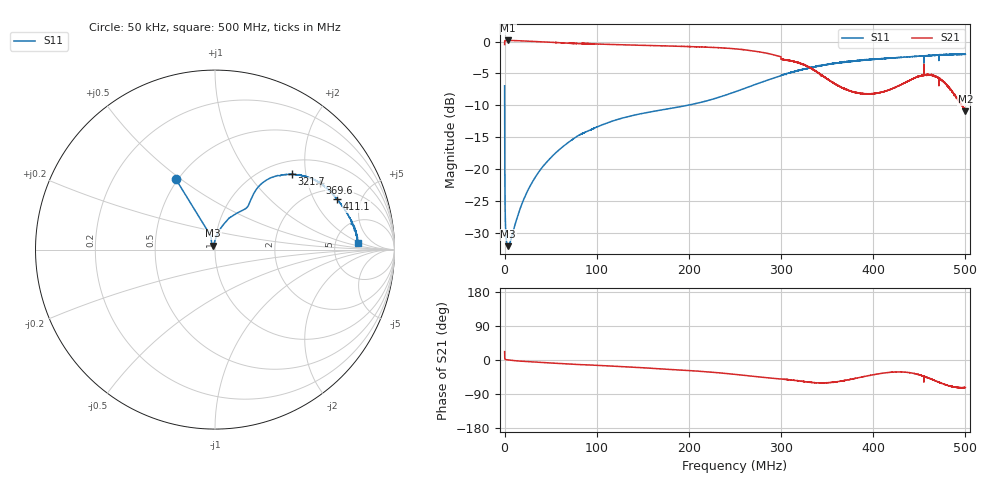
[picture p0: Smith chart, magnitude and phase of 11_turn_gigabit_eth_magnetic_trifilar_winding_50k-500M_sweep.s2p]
# HZ S RI R 50
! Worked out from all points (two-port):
!   10100 points, 50 kHz to 500 MHz, reference 50 ohm
!   highest |S21| = 0.17 dB at 4.01 MHz (marker M1); lowest = -10.9 dB at 500 MHz (marker M2)
!   |S21| within 3 dB of the highest: start of sweep to 302.5 MHz; 302.602 MHz to 302.9041 MHz (302.1 kHz wide, 0.0998 % of centre)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
!   lowest |S11| = -32.0 dB at 3.862 MHz (marker M3), VSWR 1.05, Z = 48.9 + j2.19 ohm
!   |S11| at or under -10 dB: 79.96 kHz to 197.9 MHz (197.8 MHz wide, 200 % of centre); 198.0584 MHz to 198.0771 MHz (18.74 kHz wide, 0.00946 % of centre)
!   S12 and S22 are empty: the file has one direction only
!   S11 on the Smith chart (normalised r, x): 50 kHz: 0.49, +0.48; 321.7 MHz: 1.27, +1.67; 369.6 MHz: 1.68, +2.40; 411.1 MHz: 2.52, +3.10; 500 MHz: 8.41, +1.78
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50000  -0.2188 0.3937  0.8779 0.3562  0 0  0 0
2624260  -0.0131 0.0224  1.019 0.00919  0 0  0 0
3861885  -0.011 0.0224  1.02 0.00199  0 0  0 0
4010400  -0.0108 0.0226  1.02 0.00136  0 0  0 0
2.08916e7  0.00223 0.0582  1.009 -0.0646  0 0  0 0
3.559459e7  0.0156 0.0904  0.9939 -0.1042  0 0  0 0
5.678273e7  0.0403 0.1309  0.969 -0.1517  0 0  0 0
8.341642e7  0.0762 0.1734  0.9437 -0.2035  0 0  0 0
1.221788e8  0.1304 0.2073  0.9057 -0.2735  0 0  0 0
1.667333e8  0.1736 0.2304  0.8541 -0.3624  0 0  0 0
2.500502e8  0.2284 0.333  0.6914 -0.5396  0 0  0 0
2.858424e8  0.3043 0.3971  0.5494 -0.59  0 0  0 0
3.217335e8  0.4295 0.4199  0.3768 -0.5561  0 0  0 0
3.333672e8  0.47 0.4152  0.3132 -0.5268  0 0  0 0
3.505949e8  0.5282 0.3998  0.2542 -0.4391  0 0  0 0
3.696048e8  0.5853 0.3707  0.2515 -0.3436  0 0  0 0
4.111395e8  0.6801 0.282  0.3337 -0.2293  0 0  0 0
4.166841e8  0.6905 0.2679  0.3501 -0.2267  0 0  0 0
4.463376e8  0.7408 0.1937  0.4205 -0.3128  0 0  0 0
4.645554e8  0.7662 0.1446  0.3354 -0.4275  0 0  0 0
4.783178e8  0.7822 0.1046  0.1968 -0.4258  0 0  0 0
5.00001e8  0.7947 0.0388  0.0855 -0.2721  0 0  0 0
